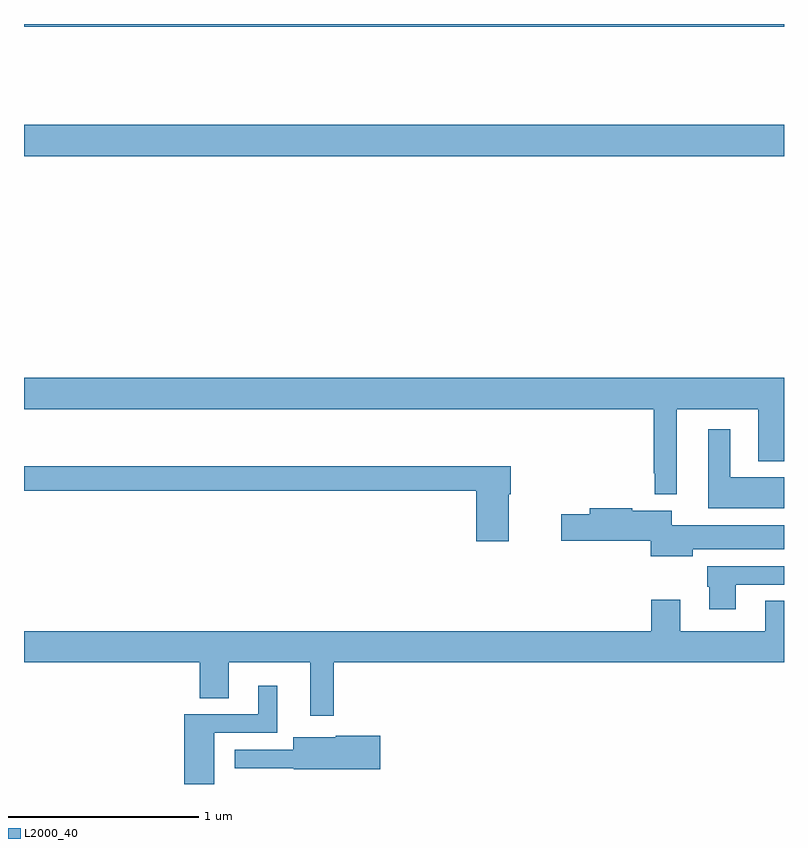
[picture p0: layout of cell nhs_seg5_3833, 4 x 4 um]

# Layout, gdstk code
import gdstk
lib = gdstk.Library(unit=1e-6, precision=1e-09)
def R(c, l, rs):  # rectangles x0, y0, x1, y1
    for r in rs: c.add(gdstk.rectangle(r[:2], r[2:], *l))
def P(c, l, *ps):  # polygons
    for p in ps: c.add(gdstk.Polygon(p, *l))
L2000_40 = (2000, 40)

nhs_seg5_3833 = lib.new_cell('nhs_seg5_3833')
R(nhs_seg5_3833, L2000_40, [(337,846.104,341,846.268), (337,846.784,341,846.799)])
P(nhs_seg5_3833, L2000_40, [(340.435,844.772),(340.865,844.772),(340.865,844.499),(341,844.499),(341,844.936),(337,844.936),(337,844.772),(340.314,844.772),(340.314,844.435),(340.321,844.435),(340.321,844.323),(340.435,844.323)],
  [(341,844.414),(340.717,844.414),(340.717,844.666),(340.601,844.666),(340.601,844.25),(341,844.25)],
  [(339.55,844.325),(339.563,844.325),(339.563,844.471),(337,844.471),(337,844.342),(339.38,844.342),(339.38,844.077),(339.55,844.077)],
  [(340.519,844.034),(341,844.034),(341,844.162),(340.408,844.162),(340.408,844.237),(340.202,844.237),(340.202,844.25),(339.977,844.25),(339.977,844.22),(339.828,844.22),(339.828,844.078),(340.298,844.078),(340.298,843.998),(340.519,843.998)],
  [(340.747,843.849),(341,843.849),(341,843.945),(340.595,843.945),(340.595,843.837),(340.607,843.837),(340.607,843.72),(340.747,843.72)],
  [(338.629,843.44),(341,843.44),(341,843.764),(340.901,843.764),(340.901,843.604),(340.453,843.604),(340.453,843.769),(340.301,843.769),(340.301,843.604),(337,843.604),(337,843.44),(337.925,843.44),(337.925,843.25),(338.077,843.25),(338.077,843.44),(338.507,843.44),(338.507,843.159),(338.629,843.159)],
  [(338.002,843.069),(338.332,843.069),(338.332,843.316),(338.234,843.316),(338.234,843.165),(337.844,843.165),(337.844,842.799),(338.002,842.799)],
  [(338.875,843.054),(338.64,843.054),(338.64,843.046),(338.417,843.046),(338.417,842.979),(338.109,842.979),(338.109,842.883),(338.421,842.883),(338.421,842.876),(338.875,842.876)])

lib.write_gds('nhs_seg5_3833.gds')
